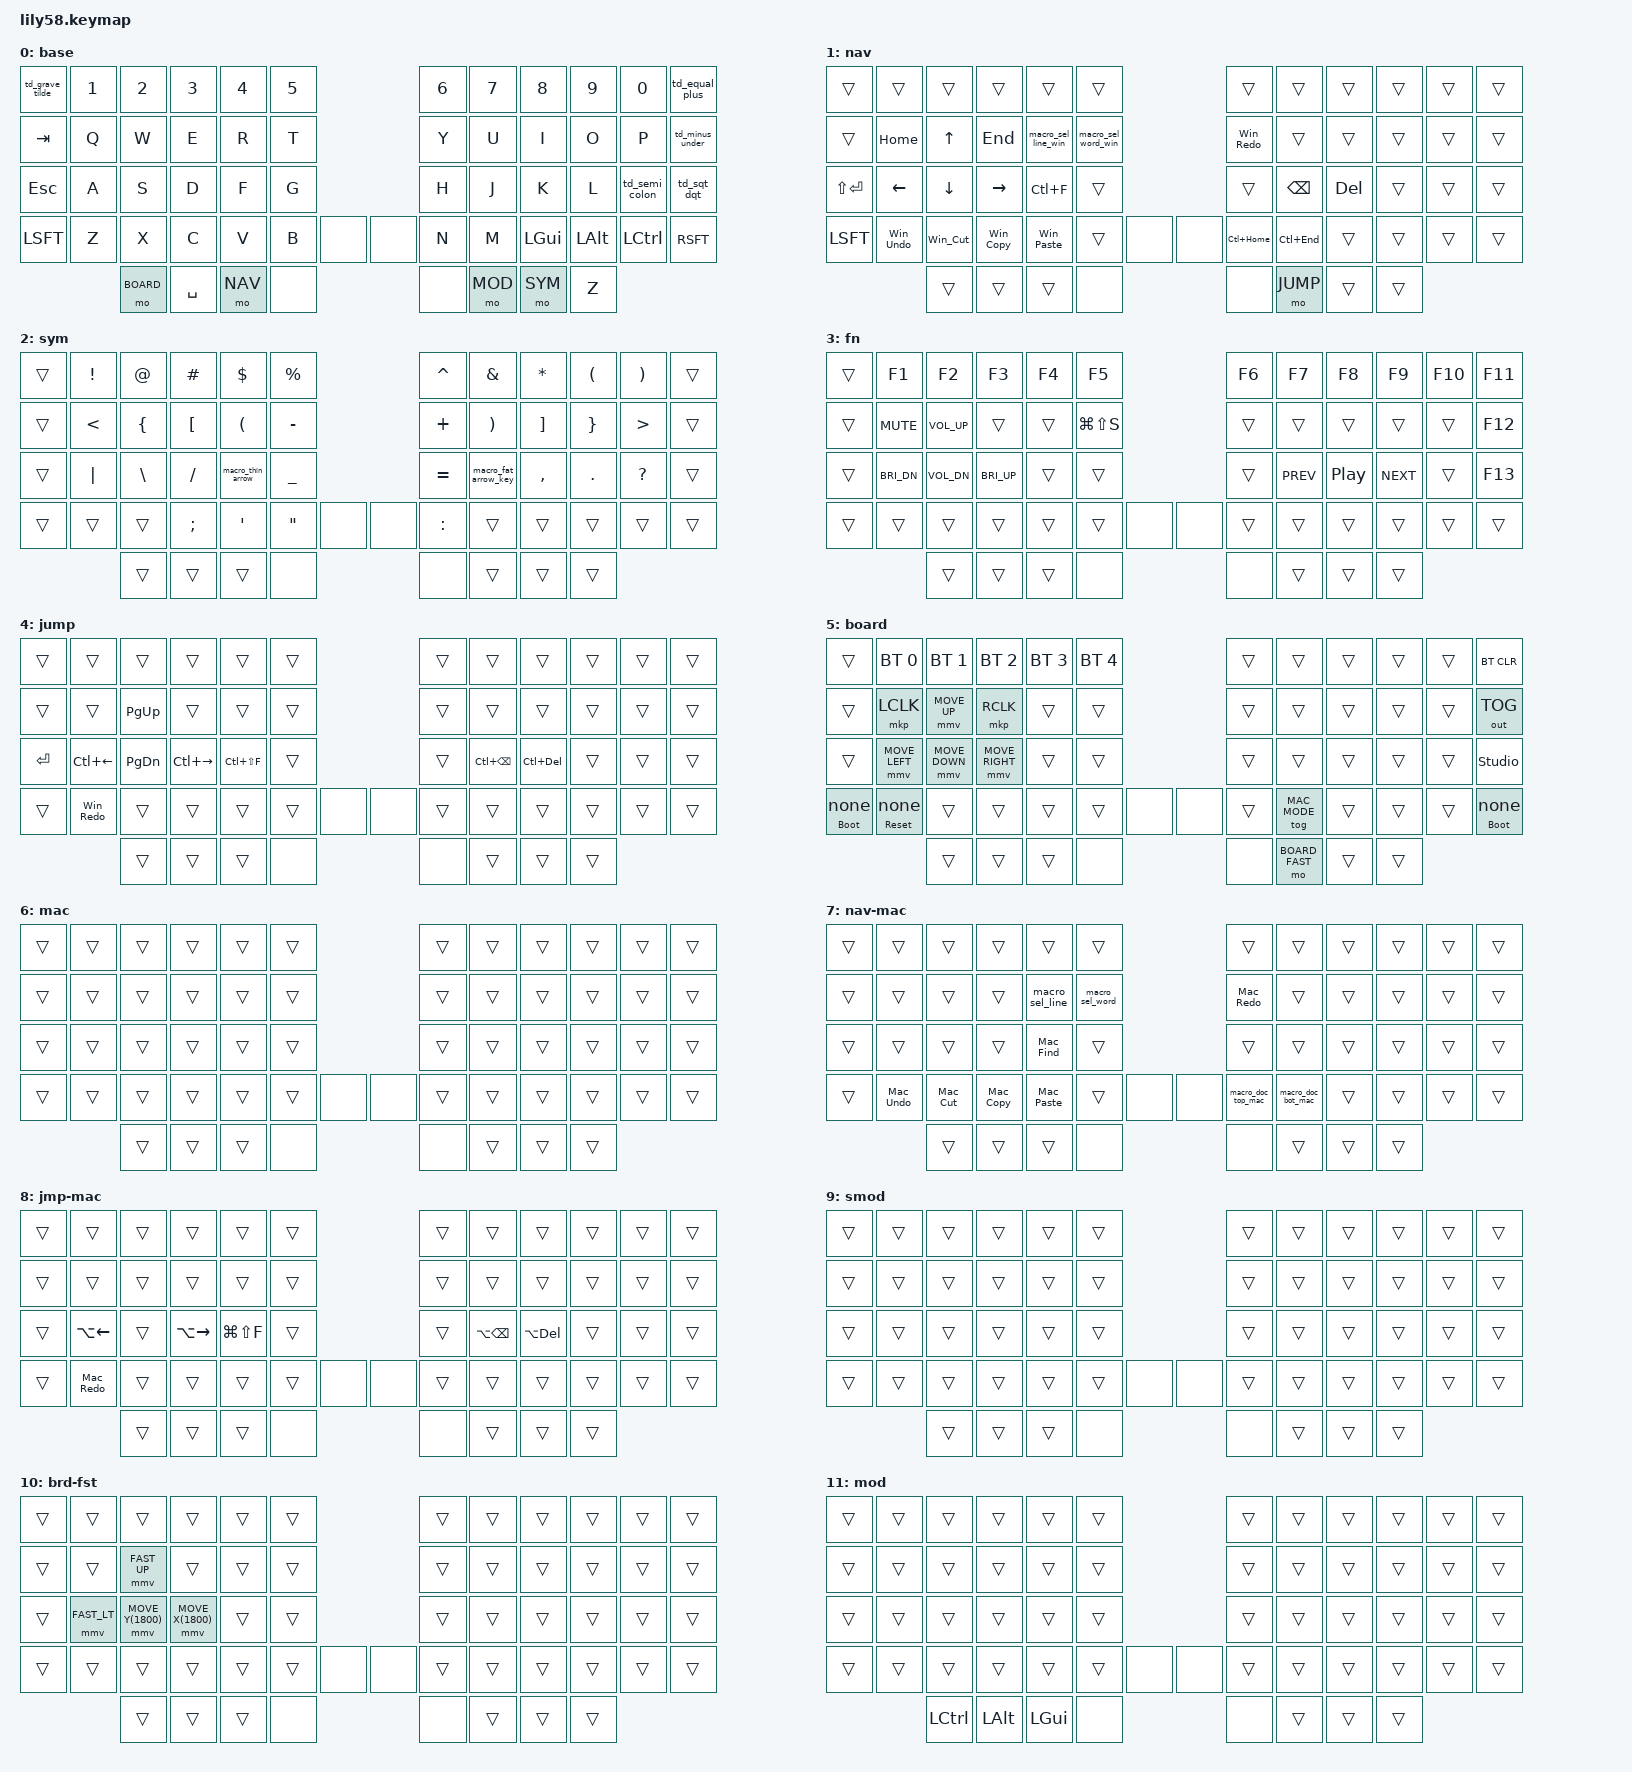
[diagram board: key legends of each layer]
#include <behaviors.dtsi>
#include <dt-bindings/zmk/bt.h>
#include <dt-bindings/zmk/keys.h>
#include <dt-bindings/zmk/outputs.h>
#include <dt-bindings/zmk/pointing.h>

/* ── Layer indices ─────────────────────────────────────────────────────── */
#define BASE       0
#define NAV        1
#define SYM        2
#define FN         3
#define JUMP       4
#define BOARD      5
#define MAC_MODE   6
#define NAV_MAC    7
#define JUMP_MAC   8
#define SPACE_MOD  9
#define BOARD_FAST 10
#define MOD        11

/* ── Fast mouse speed defines ──────────────────────────────────────────── */
#define FAST_UP MOVE_Y(-1800)
#define FAST_DN MOVE_Y(1800)
#define FAST_LT MOVE_X(-1800)
#define FAST_RT MOVE_X(1800)

/ {
  behaviors {
    #include "macros.dtsi"

    /* ── Tap-dances ──────────────────────────────────────────────────── */
    td_grave_tilde: td_grave_tilde {
      compatible = "zmk,behavior-tap-dance";
      #binding-cells = <0>;
      tapping-term-ms = <200>;
      bindings = <&kp GRAVE>, <&kp TILDE>;
    };
    td_equal_plus: td_equal_plus {
      compatible = "zmk,behavior-tap-dance";
      #binding-cells = <0>;
      tapping-term-ms = <200>;
      bindings = <&kp EQUAL>, <&kp PLUS>;
    };
    td_minus_under: td_minus_under {
      compatible = "zmk,behavior-tap-dance";
      #binding-cells = <0>;
      tapping-term-ms = <200>;
      bindings = <&kp MINUS>, <&kp UNDER>;
    };
    td_sqt_dqt: td_sqt_dqt {
      compatible = "zmk,behavior-tap-dance";
      #binding-cells = <0>;
      tapping-term-ms = <200>;
      bindings = <&kp SQT>, <&kp DQT>;
    };
    td_semi_colon: td_semi_colon {
      compatible = "zmk,behavior-tap-dance";
      #binding-cells = <0>;
      tapping-term-ms = <200>;
      bindings = <&kp SEMI>, <&kp COLON>;
    };

    /* ── Hold-tap safety behaviors ───────────────────────────────────── */
    ht_reset: ht_reset {
      compatible = "zmk,behavior-hold-tap";
      #binding-cells = <2>;
      tapping-term-ms = <1000>;
      flavor = "hold-preferred";
      bindings = <&sys_reset>, <&none>;
    };
    ht_boot: ht_boot {
      compatible = "zmk,behavior-hold-tap";
      #binding-cells = <2>;
      tapping-term-ms = <2000>;
      flavor = "hold-preferred";
      bindings = <&bootloader>, <&none>;
    };
  };

  /* ── Combos ──────────────────────────────────────────────────────────── */
  combos {
    compatible = "zmk,combos";
  };

  /* ── Conditional layers ──────────────────────────────────────────────── */
  conditional_layers {
    compatible = "zmk,conditional-layers";
    nav_mac_cond {
      if-layers = <NAV MAC_MODE>;
      then-layer = <NAV_MAC>;
    };
    jump_mac_cond {
      if-layers = <JUMP MAC_MODE>;
      then-layer = <JUMP_MAC>;
    };
  };

  /* ── Keymap ──────────────────────────────────────────────────────────── */
  keymap {
    compatible = "zmk,keymap";

    /* ┌─────────────────────────────────────────────────────────────────┐
     * │ LAYER 0 — BASE                                                  │
     * ├─────────────────────────────────────────────────────────────────┤
     * │  `~   1    2    3    4    5        6    7    8    9    0   =+   │
     * │  TAB  Q    W    E    R    T        Y    U    I    O    P   -_   │
     * │  ESC  A    S    D    F    G        H    J    K    L   ;:   '"   │
     * │  LSF  Z    X    C    V    B  ×  ×  N    M   GUI  ALT CTL  RSF  │
     * │            BRD  SPC  NAV  ×        ×   MOD  SYM  FN            │
     * └─────────────────────────────────────────────────────────────────┘ */
    base_layer {
      display-name = "base";
      bindings = <
        &td_grave_tilde &kp N1 &kp N2 &kp N3 &kp N4 &kp N5      &kp N6 &kp N7 &kp N8 &kp N9 &kp N0 &td_equal_plus
        &kp TAB  &kp Q  &kp W  &kp E  &kp R  &kp T               &kp Y  &kp U  &kp I  &kp O  &kp P  &td_minus_under
        &kp ESC  &kp A  &kp S  &kp D  &kp F  &kp G               &kp H  &kp J  &kp K  &kp L  &td_semi_colon &td_sqt_dqt
        &kp LSFT &kp Z  &kp X  &kp C  &kp V  &kp B  &none &none  &kp N  &kp M  &kp LGUI &kp LALT &kp LCTRL &kp RSFT
                        &mo BOARD &kp SPACE &mo NAV &none           &none  &mo MOD &mo SYM &kp Z
      >;
    };

    /* ┌─────────────────────────────────────────────────────────────────┐
     * │ LAYER 1 — NAV (Windows default, WASD movement)                  │
     * ├─────────────────────────────────────────────────────────────────┤
     * │  ___  ___  ___  ___  ___  ___      ___  ___  ___  ___  ___  ___ │
     * │  ___ HOME  ↑   END SelLn SelW     Redo ___  ___  ___  ___  ___ │
     * │ S-RET  ←    ↓    →  C-F  ___      ___ BSPC DEL  ___  ___  ___ │
     * │  LSF Undo Cut  Copy Pst  ___×  × ___ ___ C-Hm C-End ___ ___   │
     * │            ___  ___  ___  ×        × SMOD  ___  ___            │
     * └─────────────────────────────────────────────────────────────────┘ */
    nav_layer {
      display-name = "nav";
      bindings = <
        &trans &trans   &trans  &trans  &trans             &trans                &trans    &trans   &trans  &trans  &trans  &trans
        &trans &kp HOME &kp UP &kp END &macro_sel_line_win &macro_sel_word_win  &Win_Redo &trans   &trans  &trans  &trans  &trans
        &kp LS(RET) &kp LEFT &kp DOWN &kp RIGHT &kp LC(F) &trans               &trans    &kp BSPC &kp DEL &trans  &trans  &trans
        &kp LSFT &Win_Undo &Win_Cut &Win_Copy &Win_Paste &trans &none &none    &kp LC(HOME) &kp LC(END) &trans &trans &trans &trans
                        &trans &trans &trans &none                                &none     &mo JUMP &trans  &trans
      >;
    };

    /* ┌─────────────────────────────────────────────────────────────────┐
     * │ LAYER 2 — SYM (Karabiner bracket layout)                        │
     * ├─────────────────────────────────────────────────────────────────┤
     * │  ___  !    @    #    $    %        ^    &    *    (    )    ___  │
     * │  ___  <    {    [    (    -        +    )    ]    }    >    ___  │
     * │  ___  |    \    /   ->    _        =   =>    ,    .    ?    ___  │
     * │  ___ ___  ___   ;    '    "  ×  ×  :   ___  ___  ___  ___  ___  │
     * │            ___  ___  ___  ×        ×   ___  ___  ___            │
     * └─────────────────────────────────────────────────────────────────┘ */
    sym_layer {
      display-name = "sym";
      bindings = <
        &trans   &kp EXCL &kp AT   &kp HASH &kp DLLR          &kp PRCNT          &kp CARET &kp AMPS          &kp STAR  &kp LPAR &kp RPAR &trans
        &trans   &kp LT   &kp LBRC &kp LBKT &kp LPAR          &kp MINUS          &kp PLUS  &kp RPAR          &kp RBKT  &kp RBRC &kp GT   &trans
        &trans   &kp PIPE &kp BSLH &kp FSLH &macro_thin_arrow  &kp UNDER          &kp EQUAL &macro_fat_arrow_key &kp COMMA &kp DOT &kp QMARK &trans
        &trans   &trans   &trans   &kp SEMI &kp SQT            &kp DQT &none &none &kp COLON &trans           &trans    &trans   &trans   &trans
                          &trans   &trans   &trans              &none              &none     &trans            &trans    &trans
      >;
    };

    /* ┌─────────────────────────────────────────────────────────────────┐
     * │ LAYER 3 — FN (Function keys, media, brightness)                 │
     * ├─────────────────────────────────────────────────────────────────┤
     * │  ___  F1   F2   F3   F4   F5       F6   F7   F8   F9  F10  F11 │
     * │  ___ MUTE VOL+ ___  ___ Snip      ___  ___  ___  ___  ___  F12 │
     * │  ___ BRI- VOL- BRI+ ___  ___      ___ PREV PP  NEXT ___  F13  │
     * │  ___ ___  ___  ___  ___  ___×  × ___  ___  ___  ___  ___  ___  │
     * │            ___  ___  ___  ×        ×   ___  ___  ___            │
     * └─────────────────────────────────────────────────────────────────┘ */
    fn_layer {
      display-name = "fn";
      bindings = <
        &trans &kp F1       &kp F2       &kp F3       &kp F4 &kp F5           &kp F6 &kp F7     &kp F8   &kp F9     &kp F10 &kp F11
        &trans &kp C_MUTE   &kp C_VOL_UP &trans       &trans &kp LG(LS(S))    &trans &trans      &trans   &trans     &trans  &kp F12
        &trans &kp C_BRI_DN &kp C_VOL_DN &kp C_BRI_UP &trans &trans           &trans &kp C_PREV  &kp C_PP &kp C_NEXT &trans  &kp F13
        &trans &trans       &trans       &trans       &trans &trans &none &none &trans &trans      &trans   &trans     &trans  &trans
                            &trans       &trans       &trans &none             &none  &trans      &trans   &trans
      >;
    };

    /* ┌─────────────────────────────────────────────────────────────────┐
     * │ LAYER 4 — JUMP (conditional: NAV + SPACE_MOD)                   │
     * │ Word/page navigation. Falls through to NAV for unlisted keys.   │
     * ├─────────────────────────────────────────────────────────────────┤
     * │  ___  ___  ___  ___  ___  ___      ___  ___  ___  ___  ___  ___ │
     * │  ___ ___  PgUp ___  ___  ___      ___  ___  ___  ___  ___  ___ │
     * │  RET C-←  PgDn C-→ CS-F  ___      ___ C-Bk C-Dl ___  ___  ___ │
     * │  ___ Redo ___  ___  ___  ___×  × ___  ___  ___  ___  ___  ___  │
     * │            ___  ___  ___  ×        ×   ___  ___  ___            │
     * └─────────────────────────────────────────────────────────────────┘ */
    jump_layer {
      display-name = "jump";
      bindings = <
        &trans  &trans    &trans    &trans        &trans       &trans             &trans &trans      &trans     &trans &trans &trans
        &trans  &trans    &kp PG_UP &trans       &trans       &trans             &trans &trans      &trans     &trans &trans &trans
        &kp RET &kp LC(LEFT) &kp PG_DN &kp LC(RIGHT) &kp LC(LS(F)) &trans      &trans &kp LC(BSPC) &kp LC(DEL) &trans &trans &trans
        &trans  &Win_Redo &trans   &trans        &trans       &trans &none &none &trans &trans      &trans     &trans &trans &trans
                          &trans   &trans        &trans       &none              &none  &trans      &trans     &trans
      >;
    };

    /* ┌─────────────────────────────────────────────────────────────────┐
     * │ LAYER 5 — BOARD (system, Bluetooth, mouse)                      │
     * ├─────────────────────────────────────────────────────────────────┤
     * │  ___ BT0  BT1  BT2  BT3  BT4      ___  ___  ___  ___  ___ CLR │
     * │  ___ LCK  M↑  RCK  ___  ___      ___  ___  ___  ___  ___ OUT  │
     * │  ___  M←   M↓   M→  ___  ___      ___  ___  ___  ___  ___ STU │
     * │ BOOT RST  ___  ___  ___  ___×  × ___ MAC  ___  ___  ___ BOOT  │
     * │            ___  ___  ___  ×        × SMOD  ___  ___            │
     * └─────────────────────────────────────────────────────────────────┘ */
    board_layer {
      display-name = "board";
      bindings = <
        &trans        &bt BT_SEL 0   &bt BT_SEL 1   &bt BT_SEL 2    &bt BT_SEL 3 &bt BT_SEL 4    &trans &trans        &trans &trans &trans &bt BT_CLR
        &trans        &mkp LCLK      &mmv MOVE_UP    &mkp RCLK       &trans       &trans           &trans &trans        &trans &trans &trans &out OUT_TOG
        &trans        &mmv MOVE_LEFT &mmv MOVE_DOWN  &mmv MOVE_RIGHT &trans       &trans           &trans &trans        &trans &trans &trans &studio_unlock
        &ht_boot 0 0  &ht_reset 0 0 &trans          &trans          &trans       &trans &none &none &trans &tog MAC_MODE &trans &trans &trans &ht_boot 0 0
                                     &trans          &trans          &trans &none           &none  &mo BOARD_FAST &trans &trans
      >;
    };

    /* ┌─────────────────────────────────────────────────────────────────┐
     * │ LAYER 6 — MAC_MODE (empty flag layer, all transparent)          │
     * └─────────────────────────────────────────────────────────────────┘ */
    mac_mode_layer {
      display-name = "mac";
      bindings = <
        &trans &trans &trans &trans &trans &trans      &trans &trans &trans &trans &trans &trans
        &trans &trans &trans &trans &trans &trans      &trans &trans &trans &trans &trans &trans
        &trans &trans &trans &trans &trans &trans      &trans &trans &trans &trans &trans &trans
        &trans &trans &trans &trans &trans &trans &none &none &trans &trans &trans &trans &trans &trans
                      &trans &trans &trans &none       &none  &trans &trans &trans
      >;
    };

    /* ┌─────────────────────────────────────────────────────────────────┐
     * │ LAYER 7 — NAV_MAC (conditional: NAV + MAC_MODE)                 │
     * │ Overrides NAV with Mac shortcuts (Cmd instead of Ctrl)          │
     * ├─────────────────────────────────────────────────────────────────┤
     * │  ___  ___  ___  ___  ___  ___      ___  ___  ___  ___  ___  ___ │
     * │  ___  ___  ___ ___ SelLn SelW     Redo ___  ___  ___  ___  ___ │
     * │  ___  ___  ___  ___ ⌘F   ___      ___  ___  ___  ___  ___  ___ │
     * │  ___ ⌘Z  ⌘X   ⌘C   ⌘V   ___×  × ___  ___ ⌘↑   ⌘↓   ___  ___ │
     * │            ___  ___  ___  ×        ×   ___  ___  ___            │
     * └─────────────────────────────────────────────────────────────────┘ */
    nav_mac_layer {
      display-name = "nav-mac";
      bindings = <
        &trans &trans     &trans   &trans    &trans          &trans              &trans    &trans &trans             &trans             &trans &trans
        &trans &trans     &trans   &trans    &macro_sel_line &macro_sel_word     &Mac_Redo &trans &trans             &trans             &trans &trans
        &trans &trans     &trans   &trans    &Mac_Find       &trans              &trans    &trans &trans             &trans             &trans &trans
        &trans &Mac_Undo  &Mac_Cut &Mac_Copy &Mac_Paste     &trans &none &none  &macro_doc_top_mac &macro_doc_bot_mac &trans &trans &trans &trans
                          &trans   &trans    &trans          &none               &none     &trans &trans             &trans
      >;
    };

    /* ┌─────────────────────────────────────────────────────────────────┐
     * │ LAYER 8 — JUMP_MAC (conditional: JUMP + MAC_MODE)               │
     * │ Word nav with Option instead of Ctrl                            │
     * ├─────────────────────────────────────────────────────────────────┤
     * │  ___  ___  ___  ___  ___  ___      ___  ___  ___  ___  ___  ___ │
     * │  ___  ___  ___  ___  ___  ___      ___  ___  ___  ___  ___  ___ │
     * │  ___ ⌥←   ___ ⌥→  ⌘⇧F   ___      ___ ⌥⌫   ⌥⌦   ___  ___  ___ │
     * │  ___ ⌘⇧Z  ___  ___  ___  ___×  × ___  ___  ___  ___  ___  ___  │
     * │            ___  ___  ___  ×        ×   ___  ___  ___            │
     * └─────────────────────────────────────────────────────────────────┘ */
    jump_mac_layer {
      display-name = "jmp-mac";
      bindings = <
        &trans &trans    &trans &trans        &trans       &trans             &trans &trans      &trans     &trans &trans &trans
        &trans &trans    &trans &trans        &trans       &trans             &trans &trans      &trans     &trans &trans &trans
        &trans &kp LA(LEFT) &trans &kp LA(RIGHT) &kp LG(LS(F)) &trans       &trans &kp LA(BSPC) &kp LA(DEL) &trans &trans &trans
        &trans &Mac_Redo &trans &trans        &trans       &trans &none &none &trans &trans      &trans     &trans &trans &trans
                         &trans &trans        &trans       &none              &none  &trans      &trans     &trans
      >;
    };

    /* ┌─────────────────────────────────────────────────────────────────┐
     * │ LAYER 9 — SPACE_MOD (helper layer, all transparent)             │
     * └─────────────────────────────────────────────────────────────────┘ */
    space_mod_layer {
      display-name = "smod";
      bindings = <
        &trans &trans &trans &trans &trans &trans      &trans &trans &trans &trans &trans &trans
        &trans &trans &trans &trans &trans &trans      &trans &trans &trans &trans &trans &trans
        &trans &trans &trans &trans &trans &trans      &trans &trans &trans &trans &trans &trans
        &trans &trans &trans &trans &trans &trans &none &none &trans &trans &trans &trans &trans &trans
                      &trans &trans &trans &none       &none  &trans &trans &trans
      >;
    };

    /* ┌─────────────────────────────────────────────────────────────────┐
     * │ LAYER 10 — BOARD_FAST (conditional: BOARD + SPACE_MOD)          │
     * │ 3x mouse speed on WASD (hold pos 55 in BOARD layer)                                          │
     * ├─────────────────────────────────────────────────────────────────┤
     * │  ___  ___  ___  ___  ___  ___      ___  ___  ___  ___  ___  ___ │
     * │  ___  ___ FM↑   ___  ___  ___      ___  ___  ___  ___  ___  ___ │
     * │  ___ FM←  FM↓  FM→   ___  ___      ___  ___  ___  ___  ___  ___ │
     * │  ___  ___  ___  ___  ___  ___×  × ___  ___  ___  ___  ___  ___  │
     * │            ___  ___  ___  ×        ×   ___  ___  ___            │
     * └─────────────────────────────────────────────────────────────────┘ */
    board_fast_layer {
      display-name = "brd-fst";
      bindings = <
        &trans &trans       &trans       &trans       &trans &trans             &trans &trans &trans &trans &trans &trans
        &trans &trans       &mmv FAST_UP &trans       &trans &trans             &trans &trans &trans &trans &trans &trans
        &trans &mmv FAST_LT &mmv FAST_DN &mmv FAST_RT &trans &trans            &trans &trans &trans &trans &trans &trans
        &trans &trans       &trans       &trans       &trans &trans &none &none &trans &trans &trans &trans &trans &trans
                            &trans       &trans       &trans &none              &none  &trans &trans &trans
      >;
    };

    /* ┌─────────────────────────────────────────────────────────────────┐
     * │ LAYER 11 — MOD (hold pos 55, modifier thumbs)                  │
     * │ Everything transparent except left thumb = Ctrl/Alt/Cmd         │
     * ├─────────────────────────────────────────────────────────────────┤
     * │  ___  ___  ___  ___  ___  ___      ___  ___  ___  ___  ___  ___ │
     * │  ___  ___  ___  ___  ___  ___      ___  ___  ___  ___  ___  ___ │
     * │  ___  ___  ___  ___  ___  ___      ___  ___  ___  ___  ___  ___ │
     * │  ___  ___  ___  ___  ___  ___×  × ___  ___  ___  ___  ___  ___  │
     * │           CTL  ALT  CMD  ×        ×   [MOD] ___  ___            │
     * └─────────────────────────────────────────────────────────────────┘ */
    mod_layer {
      display-name = "mod";
      bindings = <
        &trans &trans &trans &trans &trans &trans      &trans &trans &trans &trans &trans &trans
        &trans &trans &trans &trans &trans &trans      &trans &trans &trans &trans &trans &trans
        &trans &trans &trans &trans &trans &trans      &trans &trans &trans &trans &trans &trans
        &trans &trans &trans &trans &trans &trans &none &none &trans &trans &trans &trans &trans &trans
                      &kp LCTRL &kp LALT &kp LGUI &none   &none  &trans &trans &trans
      >;
    };
  };
};
